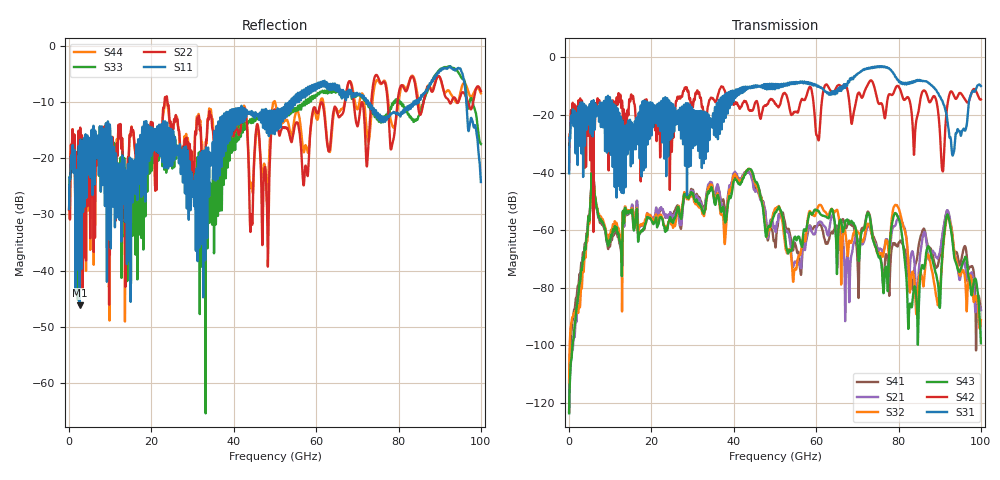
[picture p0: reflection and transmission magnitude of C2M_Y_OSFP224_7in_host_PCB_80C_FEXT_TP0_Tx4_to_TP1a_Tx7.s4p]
# GHz S RI R 45
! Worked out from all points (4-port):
!   4000 points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, 25 MHz to 100 GHz, reference 45 ohm
!   strongest paths, dB at 25 MHz, 25.02 GHz, 50.02 GHz, 75.03 GHz, 100 GHz:
!     S31: -40.3, -26.4, -10.6, -3.4, -9.9
!     S42: -38.9, -28.8, -16.1, -15.6, -14.6
!     S43: -123.7, -56.5, -53.9, -68.7, -99.3
!     S32: -112.9, -57.5, -52.5, -68.3, -91.2
!     S21: -123.2, -54.7, -59.3, -66.6, -87.8
!     S41: -123.2, -54.5, -64.9, -67.0, -87.6
!   lowest |S11| = -46.2 dB at 2.575 GHz (marker M1), VSWR 1.01, Z = 44.8 - j0.402 ohm
!   |S11| at or under -10 dB: start of sweep to 53.53 GHz; 72.61 GHz to 83.6 GHz (11 GHz wide, 14.1 % of centre); 96.47 GHz to end of sweep (the widest 3 of 12)
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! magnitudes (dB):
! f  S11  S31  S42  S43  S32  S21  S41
! 25 MHz  -29.1  -40.3  -38.9  -123.7  -112.9  -123.2  -123.2
! 2.575 GHz  -46.2  -30.7  -18.5  -78.1  -86.2  -79.5  -75.2
! 5.8 GHz  -17.9  -19.4  -21.4  -38.1  -38.3  -38.4  -38.2
! 43.7 GHz  -12.1  -10.4  -18.2  -38.8  -38.7  -39.8  -40.0
! 54.67 GHz  -9.5  -8.6  -19.0  -62.7  -74.3  -71.5  -64.7
! 79.38 GHz  -12.1  -6.9  -10.3  -54.2  -51.3  -57.8  -65.4
! 100 GHz  -24.3  -9.9  -14.6  -99.3  -91.2  -87.8  -87.6
